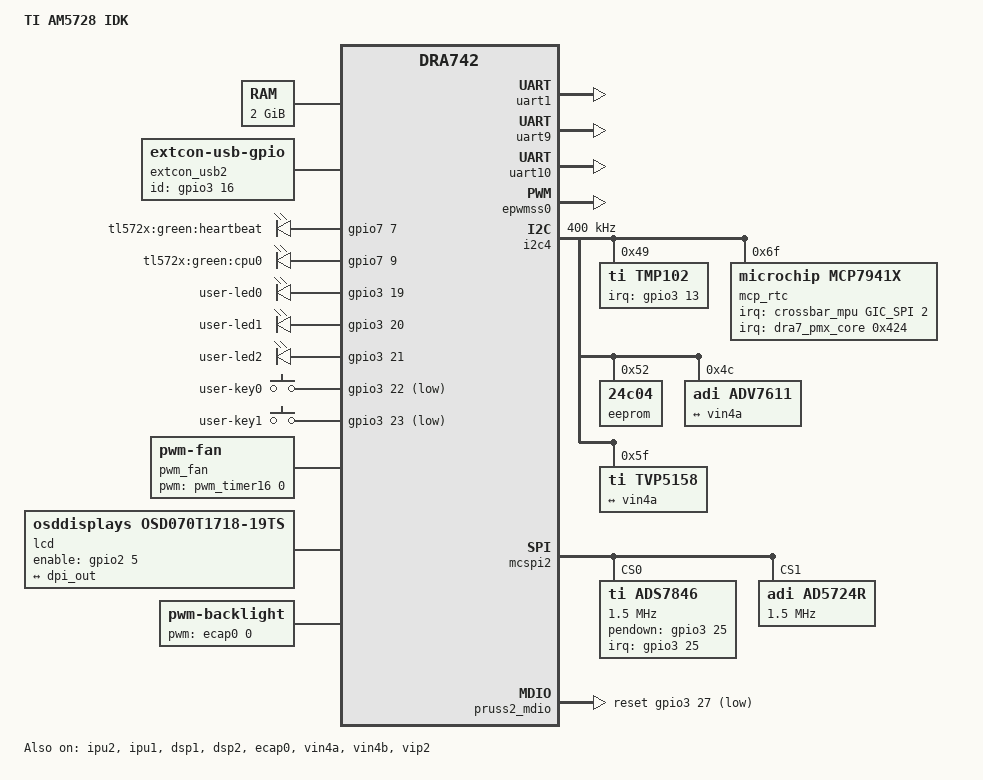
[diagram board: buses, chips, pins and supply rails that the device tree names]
/*
 * Copyright (C) 2015-2016 Texas Instruments Incorporated - http://www.ti.com/
 *
 * This program is free software; you can redistribute it and/or modify
 * it under the terms of the GNU General Public License version 2 as
 * published by the Free Software Foundation.
 */

/dts-v1/;

#include "dra74x.dtsi"
#include <dt-bindings/gpio/gpio.h>
#include <dt-bindings/interrupt-controller/irq.h>
#include <dt-bindings/input/input.h>
#include "am57xx-idk-common.dtsi"
#include "am57xx-evm-cmem.dtsi"

/ {
	model = "TI AM5728 IDK";
	compatible = "ti,am5728-idk", "ti,am5728", "ti,dra742", "ti,dra74",
		     "ti,dra7";

	aliases {
		display0 = &lcd0;
		display1 = &hdmi0;
		ethernet2 = &pruss2_emac0;
		ethernet3 = &pruss2_emac1;
	};

	memory {
		device_type = "memory";
		reg = <0x0 0x80000000 0x0 0x80000000>;
	};

	reserved-memory {
		#address-cells = <2>;
		#size-cells = <2>;
		ranges;

		ipu2_cma_pool: ipu2_cma@95800000 {
			compatible = "shared-dma-pool";
			reg = <0x0 0x95800000 0x0 0x3800000>;
			reusable;
			status = "okay";
		};

		dsp1_cma_pool: dsp1_cma@99000000 {
			compatible = "shared-dma-pool";
			reg = <0x0 0x99000000 0x0 0x4000000>;
			reusable;
			status = "okay";
		};

		ipu1_cma_pool: ipu1_cma@9d000000 {
			compatible = "shared-dma-pool";
			reg = <0x0 0x9d000000 0x0 0x2000000>;
			reusable;
			status = "okay";
		};

		dsp2_cma_pool: dsp2_cma@9f000000 {
			compatible = "shared-dma-pool";
			reg = <0x0 0x9f000000 0x0 0x800000>;
			reusable;
			status = "okay";
		};
	};

	extcon_usb2: extcon_usb2 {
		compatible = "linux,extcon-usb-gpio";
		id-gpio = <&gpio3 16 GPIO_ACTIVE_HIGH>;
	};

	leds@1 {
		compatible = "gpio-leds";
		pinctrl-names = "default";
		pinctrl-0 = <&leds_pins_default>;
		led@0 {
			label = "tl572x:green:heartbeat";
			gpios = <&gpio7 7 GPIO_ACTIVE_HIGH>;
			default-state = "off";
			linux,default-trigger = "heartbeat";
		};

		led@1 {
			label = "tl572x:green:cpu0";
			gpios = <&gpio7 9 GPIO_ACTIVE_HIGH>;
			default-state = "off";
			linux,default-trigger = "cpu0";
		};

		led@2 {
			label = "user-led0";
			gpios = <&gpio3 19 GPIO_ACTIVE_HIGH>;
			default-state = "on";
		};

		led@3 {
			label = "user-led1";
			gpios = <&gpio3 20 GPIO_ACTIVE_HIGH>;
			default-state = "on";
		};

		led@4 {
			label = "user-led2";
			gpios = <&gpio3 21 GPIO_ACTIVE_HIGH>;
			default-state = "on";
		};
	};

	gpio_keys {
		compatible = "gpio-keys";
		pinctrl-names = "default";
		pinctrl-0 = <&buttons_pins_default>;
		#address-cells = <1>;
		#size-cells = <0>;
		autorepeat;

		USER1 {
			label = "user-key0";
			linux,code = <KEY_PROG1>;
			gpios = <&gpio3 22 GPIO_ACTIVE_LOW>;
		};

		USER2 {
			label = "user-key1";
			linux,code = <KEY_PROG2>;
			gpios = <&gpio3 23 GPIO_ACTIVE_LOW>;
		};
	};

	pwm_timer16: dmtimer-pwm@16 {
		pinctrl-names = "default";
		pinctrl-0 = <&fan_pins_default>;
		compatible = "ti,omap-dmtimer-pwm";
		ti,timers = <&timer16>;
		#pwm-cells = <3>;
		ti,prescaler = <7>;
		ti,clock-source = <0x00>;
	};

	pwm_fan: pwm_fan {
		compatible = "pwm-fan";
		cooling-min-state = <0>;
		cooling-max-state = <3>;
		#cooling-cells = <2>;
		pwms = <&pwm_timer16 0 10000 0>;
		cooling-levels = <102 153 204 250>;
	};

	lcd0: display {
		compatible = "osddisplays,osd070t1718-19ts", "panel-dpi";

		label = "lcd";

		enable-gpios = <&gpio2 5 GPIO_ACTIVE_HIGH>;

		panel-timing {
			clock-frequency = <33000000>;
			hactive = <800>;
			vactive = <480>;
			hfront-porch = <210>;
			hback-porch = <16>;
			hsync-len = <30>;
			vback-porch = <10>;
			vfront-porch = <22>;
			vsync-len = <13>;
			hsync-active = <0>;
			vsync-active = <0>;
			de-active = <1>;
			pixelclk-active = <1>;
		};

		port {
			lcd_in: endpoint {
				remote-endpoint = <&dpi_out>;
			};
		};
	};

	backlight {
		compatible = "pwm-backlight";
		pwms = <&ecap0 0 50000 0>;

		brightness-levels = <0 10 50 100 150 200 220 240 255>;

		default-brightness-level = <8>;
	};

	extcon_usb2: extcon_usb2 {
	     compatible = "linux,extcon-usb-gpio";
	     id-gpio = <&gpio3 16 GPIO_ACTIVE_HIGH>;
	};
};

&dra7_pmx_core {
	pinctrl-names = "default";
	pinctrl-0 = <&gpio2_pins &gpio3_pins &gpio4_pins &gpio5_pins &gpio6_pins &gpio7_pins &i2c1_pins_default &i2c4_pins_default>;

	leds_pins_default: leds_pins_default {
		pinctrl-single,pins = <
			0x3a4 (PIN_OUTPUT | MUX_MODE14) /* spi1_sclk.gpio7_7 (som led1) A25 */
			0x3ac (PIN_OUTPUT | MUX_MODE14) /* spi1_d0.gpio7_9 (som led2) B25 */
			0x130 (PIN_OUTPUT | MUX_MODE14) /* vin1a_d15.gpio3_19 */
			0x134 (PIN_OUTPUT | MUX_MODE14) /* vin1a_d16.gpio3_20 */
			0x138 (PIN_OUTPUT | MUX_MODE14) /* vin1a_d17.gpio3_21 */
		>;
	};

	buttons_pins_default: buttons_pins_default {
		pinctrl-single,pins = <
			0x13c (PIN_INPUT_PULLUP | MUX_MODE14) /* vin1a_d18.gpio3_22 (AE5) */
			0x140 (PIN_INPUT_PULLUP | MUX_MODE14) /* vin1a_d19.gpio3_23 (AE1) */
		>;
	};

	uart1_pins_default: uart1_pins_default {
		pinctrl-single,pins = <
			0x3e0 (PIN_INPUT_PULLUP | MUX_MODE0) /* uart1_rxd.uart1_rxd */
			0x3e4 (PIN_INPUT_PULLUP | MUX_MODE0) /* uart1_txd.uart1_txd */
		>;
	};

	uart9_pins_default: uart9_pins_default {
		pinctrl-single,pins = <
			0x160 (PIN_INPUT_PULLUP | MUX_MODE7) /* vin2a_hsync0.uart9_rxd (G1) */
			0x164 (PIN_INPUT_PULLUP | MUX_MODE7) /* vin2a_vsync0.uart9_txd (G6) */
		>;
	};

	uart10_pins_default: uart10_pins_default {
		pinctrl-single,pins = <
			DRA7XX_CORE_IOPAD(0x3570, (PIN_INPUT_PULLUP | MUX_MODE8)) /* vin2a_d2.uart10_rxd */
			DRA7XX_CORE_IOPAD(0x3574, (PIN_INPUT_PULLUP | MUX_MODE8)) /* vin2a_d3.uart10_txd */
		>;
	};

	fan_pins_default: fan_pins_default {
		pinctrl-single,pins = <
			DRA7XX_CORE_IOPAD(0x34e4, (PIN_OUTPUT_PULLUP | MUX_MODE7)) /* vin1a_de0.timer16 (AD9) */
		>;
	};

	ehrpwm0_pins: ehrpwm0_pins {
		pinctrl-single,pins = <
			DRA7XX_CORE_IOPAD(0x3500, (PIN_OUTPUT | MUX_MODE10)) /* vin1a_d3.eCAP1_in_PWM1_out (AH6) */
		>;
	};

	spi2_pins: spi2_pins {
		pinctrl-single,pins = <
			DRA7XX_CORE_IOPAD(0x37c0, (INPUT_EN | MUX_MODE0))          /* spi2_sclk.spi2_sclk (A26) */
			DRA7XX_CORE_IOPAD(0x37c4, (INPUT_EN | MUX_MODE0))          /* spi2_d1.spi2_d1 (B22) */
			DRA7XX_CORE_IOPAD(0x37c8, (INPUT_EN | MUX_MODE0))          /* spi2_d0.spi2_d0 (G17) */
			DRA7XX_CORE_IOPAD(0x37cc, (PIN_OUTPUT_PULLUP | MUX_MODE0)) /* spi2_cs0.spi2_cs0 (B24) */
			DRA7XX_CORE_IOPAD(0x37b4, (PIN_OUTPUT_PULLUP | MUX_MODE3)) /* spi1_cs1.spi2_cs1 (A22) */
		>;
	};

	i2c4_pins_default: i2c4_pins_default {
		pinctrl-single,pins = <
			0x040 (PIN_INPUT_PULLUP | MUX_MODE7) /* gpmc_a0.i2c4_scl */
			0x044 (PIN_INPUT_PULLUP | MUX_MODE7) /* gpmc_a1.i2c4_sda */
		>;
	};

	ads7846_pins: ads7846_pins {
		pinctrl-single,pins = <
			DRA7XX_CORE_IOPAD(0x3548, (PIN_INPUT_PULLUP | MUX_MODE14)) /* vin1a_d21.gpio3_25 */
		>;
	};

	vin4a_reset_pins: vin4a_reset_pins {
		pinctrl-single,pins = <
			DRA7XX_CORE_IOPAD(0x34e0, (PIN_OUTPUT_PULLUP | MUX_MODE14)) /* vin1b_clk1.gpio2_31 (AH7) */
		>;
	};

	gpio6_pins: gpio6_pins {
		pinctrl-single,pins = <
			DRA7XX_CORE_IOPAD(0x3684, (PIN_INPUT_PULLUP | MUX_MODE14)) /* usb2_drvvbus.gpio6_13 (AC10) */
		>;
	};

	gpio7_pins: gpio7_pins {
		pinctrl-single,pins = <
			DRA7XX_CORE_IOPAD(0x37ec, (PIN_OUTPUT_PULLDOWN | MUX_MODE14)) /* uart1_rtsn.gpio7_25 (C27) */
			DRA7XX_CORE_IOPAD(0x37b0, (PIN_INPUT_PULLUP | MUX_MODE14))    /* spi1_cs0.gpio7_10 (A24) */
		>;
	};

	gpio2_pins: gpio2_pins {
		pinctrl-single,pins = <
			DRA7XX_CORE_IOPAD(0x34dc, (PIN_INPUT_PULLUP | MUX_MODE14)) /* vin1a_clk0.gpio2_30 (AG8) */
		>;
	};

	gpio3_pins: gpio3_pins {
		pinctrl-single,pins = <
			DRA7XX_CORE_IOPAD(0x3528, (PIN_INPUT_PULLUP | MUX_MODE14)) /* vin1a_d13.gpio3_17 (AF6) */
			DRA7XX_CORE_IOPAD(0x354c, PIN_INPUT_PULLUP | MUX_MODE14) /* vin1a_d22.gpio3_26 */
			DRA7XX_CORE_IOPAD(0x350c, (PIN_INPUT_PULLUP | MUX_MODE14)) /* vin1a_d6.gpio3_10 (AG6) */
			DRA7XX_CORE_IOPAD(0x3550, (PIN_INPUT_PULLUP | MUX_MODE14)) /* vin1a_d23.gpio3_27 (AD3) */
			DRA7XX_CORE_IOPAD(0x352c, (PIN_INPUT_PULLUP | MUX_MODE14)) /* vin1a_d14.gpio3_18 (AF3) */
		>;
	};

	gpio4_pins: gpio4_pins {
		pinctrl-single,pins = <
			DRA7XX_CORE_IOPAD(0x3578, (PIN_INPUT_PULLUP | MUX_MODE14)) /* vin2a_d4.gpio4_5 (D2) */
		>;
	};

	gpio5_pins: gpio5_pins {
		pinctrl-single,pins = <
			DRA7XX_CORE_IOPAD(0x3644, (PIN_INPUT_PULLUP | MUX_MODE14)) /* RMII_MHZ_50_CLK.gpio5_17 */
		>;
	};

	mmc1_pins_default: mmc1_pins_default {
		pinctrl-single,pins = <
			0x354 (PIN_INPUT_PULLUP | MUX_MODE0) /* mmc1_clk.clk */
			0x358 (PIN_INPUT_PULLUP | MUX_MODE0) /* mmc1_cmd.cmd */
			0x35c (PIN_INPUT_PULLUP | MUX_MODE0) /* mmc1_dat0.dat0 */
			0x360 (PIN_INPUT_PULLUP | MUX_MODE0) /* mmc1_dat1.dat1 */
			0x364 (PIN_INPUT_PULLUP | MUX_MODE0) /* mmc1_dat2.dat2 */
			0x368 (PIN_INPUT_PULLUP | MUX_MODE0) /* mmc1_dat3.dat3 */
			0x36c (PIN_INPUT_PULLUP | MUX_MODE14) /* mmc1_sdcd.gpio6_27 */
		>;
	};

	mmc1_pins_sdr12: pinmux_mmc1_sdr12_pins {
		pinctrl-single,pins = <
			0x354 (PIN_INPUT_PULLUP | MUX_MODE0)	/* mmc1_clk.clk */
			0x358 (PIN_INPUT_PULLUP | MUX_MODE0)	/* mmc1_cmd.cmd */
			0x35c (PIN_INPUT_PULLUP | MUX_MODE0)	/* mmc1_dat0.dat0 */
			0x360 (PIN_INPUT_PULLUP | MUX_MODE0)	/* mmc1_dat1.dat1 */
			0x364 (PIN_INPUT_PULLUP | MUX_MODE0)	/* mmc1_dat2.dat2 */
			0x368 (PIN_INPUT_PULLUP | MUX_MODE0)	/* mmc1_dat3.dat3 */
		>;
	};

	mmc1_pins_hs: mmc1_pins_hs {
		pinctrl-single,pins = <
			0x354 (PIN_INPUT_PULLUP | MUX_VIRTUAL_MODE11 | MUX_MODE0) /* mmc1_clk.clk */
			0x358 (PIN_INPUT_PULLUP | MUX_VIRTUAL_MODE11 | MUX_MODE0) /* mmc1_cmd.cmd */
			0x35c (PIN_INPUT_PULLUP | MUX_VIRTUAL_MODE11 | MUX_MODE0) /* mmc1_dat0.dat0 */
			0x360 (PIN_INPUT_PULLUP | MUX_VIRTUAL_MODE11 | MUX_MODE0) /* mmc1_dat1.dat1 */
			0x364 (PIN_INPUT_PULLUP | MUX_VIRTUAL_MODE11 | MUX_MODE0) /* mmc1_dat2.dat2 */
			0x368 (PIN_INPUT_PULLUP | MUX_VIRTUAL_MODE11 | MUX_MODE0) /* mmc1_dat3.dat3 */
		>;
	};

	mmc1_pins_sdr25: pinmux_mmc1_sdr25_pins {
		pinctrl-single,pins = <
			0x354 (PIN_INPUT_PULLUP | MUX_VIRTUAL_MODE11 | MUX_MODE0)	/* mmc1_clk.clk */
			0x358 (PIN_INPUT_PULLUP | MUX_VIRTUAL_MODE11 | MUX_MODE0)	/* mmc1_cmd.cmd */
			0x35c (PIN_INPUT_PULLUP | MUX_VIRTUAL_MODE11 | MUX_MODE0)	/* mmc1_dat0.dat0 */
			0x360 (PIN_INPUT_PULLUP | MUX_VIRTUAL_MODE11 | MUX_MODE0)	/* mmc1_dat1.dat1 */
			0x364 (PIN_INPUT_PULLUP | MUX_VIRTUAL_MODE11 | MUX_MODE0)	/* mmc1_dat2.dat2 */
			0x368 (PIN_INPUT_PULLUP | MUX_VIRTUAL_MODE11 | MUX_MODE0)	/* mmc1_dat3.dat3 */
		>;
	};

	mmc1_pins_sdr50: pinmux_mmc1_sdr50_pins {
		pinctrl-single,pins = <
			0x354 (PIN_INPUT_PULLUP | MUX_VIRTUAL_MODE10 | MUX_MODE0)	/* mmc1_clk.clk */
			0x358 (PIN_INPUT_PULLUP | MUX_VIRTUAL_MODE10 | MUX_MODE0)	/* mmc1_cmd.cmd */
			0x35c (PIN_INPUT_PULLUP | MUX_VIRTUAL_MODE10 | MUX_MODE0)	/* mmc1_dat0.dat0 */
			0x360 (PIN_INPUT_PULLUP | MUX_VIRTUAL_MODE10 | MUX_MODE0)	/* mmc1_dat1.dat1 */
			0x364 (PIN_INPUT_PULLUP | MUX_VIRTUAL_MODE10 | MUX_MODE0)	/* mmc1_dat2.dat2 */
			0x368 (PIN_INPUT_PULLUP | MUX_VIRTUAL_MODE10 | MUX_MODE0)	/* mmc1_dat3.dat3 */
		>;
	};

	mmc1_pins_ddr50: pinmux_mmc1_ddr50_pins {
		pinctrl-single,pins = <
			0x354 (PIN_INPUT_PULLUP | MANUAL_MODE | MUX_MODE0)	/* mmc1_clk.clk */
			0x358 (PIN_INPUT_PULLUP | MANUAL_MODE | MUX_MODE0)	/* mmc1_cmd.cmd */
			0x35c (PIN_INPUT_PULLUP | MANUAL_MODE | MUX_MODE0)	/* mmc1_dat0.dat0 */
			0x360 (PIN_INPUT_PULLUP | MANUAL_MODE | MUX_MODE0)	/* mmc1_dat1.dat1 */
			0x364 (PIN_INPUT_PULLUP | MANUAL_MODE | MUX_MODE0)	/* mmc1_dat2.dat2 */
			0x368 (PIN_INPUT_PULLUP | MANUAL_MODE | MUX_MODE0)	/* mmc1_dat3.dat3 */
		>;
	};

	mmc1_pins_sdr104: pinmux_mmc1_sdr104_pins {
		pinctrl-single,pins = <
			0x354 (PIN_INPUT_PULLUP | MANUAL_MODE | MUX_MODE0)	/* mmc1_clk.clk */
			0x358 (PIN_INPUT_PULLUP | MANUAL_MODE | MUX_MODE0)	/* mmc1_cmd.cmd */
			0x35c (PIN_INPUT_PULLUP | MANUAL_MODE | MUX_MODE0)	/* mmc1_dat0.dat0 */
			0x360 (PIN_INPUT_PULLUP | MANUAL_MODE | MUX_MODE0)	/* mmc1_dat1.dat1 */
			0x364 (PIN_INPUT_PULLUP | MANUAL_MODE | MUX_MODE0)	/* mmc1_dat2.dat2 */
			0x368 (PIN_INPUT_PULLUP | MANUAL_MODE | MUX_MODE0)	/* mmc1_dat3.dat3 */
		>;
	};

	mmc2_pins_default: mmc2_pins_default {
		pinctrl-single,pins = <
			0x9c (PIN_INPUT_PULLUP | MUX_MODE1) /* gpmc_a23.mmc2_clk */
			0xb0 (PIN_INPUT_PULLUP | MUX_MODE1) /* gpmc_cs1.mmc2_cmd */
			0xa0 (PIN_INPUT_PULLUP | MUX_MODE1) /* gpmc_a24.mmc2_dat0 */
			0xa4 (PIN_INPUT_PULLUP | MUX_MODE1) /* gpmc_a25.mmc2_dat1 */
			0xa8 (PIN_INPUT_PULLUP | MUX_MODE1) /* gpmc_a26.mmc2_dat2 */
			0xac (PIN_INPUT_PULLUP | MUX_MODE1) /* gpmc_a27.mmc2_dat3 */
			0x8c (PIN_INPUT_PULLUP | MUX_MODE1) /* gpmc_a19.mmc2_dat4 */
			0x90 (PIN_INPUT_PULLUP | MUX_MODE1) /* gpmc_a20.mmc2_dat5 */
			0x94 (PIN_INPUT_PULLUP | MUX_MODE1) /* gpmc_a21.mmc2_dat6 */
			0x98 (PIN_INPUT_PULLUP | MUX_MODE1) /* gpmc_a22.mmc2_dat7 */
		>;
	};

	mmc2_pins_hs: mmc2_pins_hs {
		pinctrl-single,pins = <
			0x9c (PIN_INPUT_PULLUP | MUX_MODE1) /* gpmc_a23.mmc2_clk */
			0xb0 (PIN_INPUT_PULLUP | MUX_MODE1) /* gpmc_cs1.mmc2_cmd */
			0xa0 (PIN_INPUT_PULLUP | MUX_MODE1) /* gpmc_a24.mmc2_dat0 */
			0xa4 (PIN_INPUT_PULLUP | MUX_MODE1) /* gpmc_a25.mmc2_dat1 */
			0xa8 (PIN_INPUT_PULLUP | MUX_MODE1) /* gpmc_a26.mmc2_dat2 */
			0xac (PIN_INPUT_PULLUP | MUX_MODE1) /* gpmc_a27.mmc2_dat3 */
			0x8c (PIN_INPUT_PULLUP | MUX_MODE1) /* gpmc_a19.mmc2_dat4 */
			0x90 (PIN_INPUT_PULLUP | MUX_MODE1) /* gpmc_a20.mmc2_dat5 */
			0x94 (PIN_INPUT_PULLUP | MUX_MODE1) /* gpmc_a21.mmc2_dat6 */
			0x98 (PIN_INPUT_PULLUP | MUX_MODE1) /* gpmc_a22.mmc2_dat7 */
		>;
	};

	mmc2_pins_ddr_1_8v: mmc2_pins_ddr_1_8v {
		pinctrl-single,pins = <
			0x9c (PIN_INPUT_PULLUP | MANUAL_MODE | MUX_MODE1) /* gpmc_a23.mmc2_clk */
			0xb0 (PIN_INPUT_PULLUP | MANUAL_MODE | MUX_MODE1) /* gpmc_cs1.mmc2_cmd */
			0xa0 (PIN_INPUT_PULLUP | MANUAL_MODE | MUX_MODE1) /* gpmc_a24.mmc2_dat0 */
			0xa4 (PIN_INPUT_PULLUP | MANUAL_MODE | MUX_MODE1) /* gpmc_a25.mmc2_dat1 */
			0xa8 (PIN_INPUT_PULLUP | MANUAL_MODE | MUX_MODE1) /* gpmc_a26.mmc2_dat2 */
			0xac (PIN_INPUT_PULLUP | MANUAL_MODE | MUX_MODE1) /* gpmc_a27.mmc2_dat3 */
			0x8c (PIN_INPUT_PULLUP | MANUAL_MODE | MUX_MODE1) /* gpmc_a19.mmc2_dat4 */
			0x90 (PIN_INPUT_PULLUP | MANUAL_MODE | MUX_MODE1) /* gpmc_a20.mmc2_dat5 */
			0x94 (PIN_INPUT_PULLUP | MANUAL_MODE | MUX_MODE1) /* gpmc_a21.mmc2_dat6 */
			0x98 (PIN_INPUT_PULLUP | MANUAL_MODE | MUX_MODE1) /* gpmc_a22.mmc2_dat7 */
		>;
	};
};

&dra7_iodelay_core {

	mmc1_iodelay_ddr50_conf: mmc1_iodelay_ddr50_conf {
		pinctrl-single,pins = <
			0x618 (A_DELAY(0) | G_DELAY(0))		/* CFG_MMC1_CLK_IN */
			0x620 (A_DELAY(1271) | G_DELAY(0))	/* CFG_MMC1_CLK_OUT */
			0x624 (A_DELAY(229) | G_DELAY(0))	/* CFG_MMC1_CMD_IN */
			0x628 (A_DELAY(0) | G_DELAY(0))		/* CFG_MMC1_CMD_OEN */
			0x62C (A_DELAY(0) | G_DELAY(0))		/* CFG_MMC1_CMD_OUT */
			0x630 (A_DELAY(850) | G_DELAY(0))	/* CFG_MMC1_DAT0_IN */
			0x634 (A_DELAY(0) | G_DELAY(0))		/* CFG_MMC1_DAT0_OEN */
			0x638 (A_DELAY(20) | G_DELAY(0))	/* CFG_MMC1_DAT0_OUT */
			0x63C (A_DELAY(468) | G_DELAY(0))	/* CFG_MMC1_DAT1_IN */
			0x640 (A_DELAY(0) | G_DELAY(0))		/* CFG_MMC1_DAT1_OEN */
			0x644 (A_DELAY(0) | G_DELAY(0))		/* CFG_MMC1_DAT1_OUT */
			0x648 (A_DELAY(466) | G_DELAY(0))	/* CFG_MMC1_DAT2_IN */
			0x64C (A_DELAY(0) | G_DELAY(0))		/* CFG_MMC1_DAT2_OEN */
			0x650 (A_DELAY(0) | G_DELAY(0))		/* CFG_MMC1_DAT2_OUT */
			0x654 (A_DELAY(399) | G_DELAY(0))	/* CFG_MMC1_DAT3_IN */
			0x658 (A_DELAY(0) | G_DELAY(0))		/* CFG_MMC1_DAT3_OEN */
			0x65C (A_DELAY(0) | G_DELAY(0))		/* CFG_MMC1_DAT3_OUT */
		>;
	};

	mmc1_iodelay_sdr104_conf: mmc1_iodelay_sdr104_conf {
		pinctrl-single,pins = <
			0x620 (A_DELAY(600) | G_DELAY(400))	/* CFG_MMC1_CLK_OUT */
			0x628 (A_DELAY(0) | G_DELAY(0))		/* CFG_MMC1_CMD_OEN */
			0x62c (A_DELAY(0) | G_DELAY(0))		/* CFG_MMC1_CMD_OUT */
			0x634 (A_DELAY(0) | G_DELAY(0))		/* CFG_MMC1_DAT0_OEN */
			0x638 (A_DELAY(30) | G_DELAY(0))	/* CFG_MMC1_DAT0_OUT */
			0x640 (A_DELAY(0) | G_DELAY(0))		/* CFG_MMC1_DAT1_OEN */
			0x644 (A_DELAY(0) | G_DELAY(0))		/* CFG_MMC1_DAT1_OUT */
			0x64c (A_DELAY(0) | G_DELAY(0))		/* CFG_MMC1_DAT2_OEN */
			0x650 (A_DELAY(0) | G_DELAY(0))		/* CFG_MMC1_DAT2_OUT */
			0x658 (A_DELAY(0) | G_DELAY(0))		/* CFG_MMC1_DAT3_OEN */
			0x65c (A_DELAY(0) | G_DELAY(0))		/* CFG_MMC1_DAT3_OUT */
		>;
	};

	mmc2_iodelay_ddr_1_8v_conf: mmc2_iodelay_ddr_1_8v_conf {
		pinctrl-single,pins = <
			0x18c (A_DELAY(270) | G_DELAY(0))	/* CFG_GPMC_A19_IN */
			0x1a4 (A_DELAY(0) | G_DELAY(0))		/* CFG_GPMC_A20_IN */
			0x1b0 (A_DELAY(170) | G_DELAY(0))	/* CFG_GPMC_A21_IN */
			0x1bc (A_DELAY(758) | G_DELAY(0))	/* CFG_GPMC_A22_IN */
			0x1c8 (A_DELAY(0) | G_DELAY(0))		/* CFG_GPMC_A23_IN */
			0x1d4 (A_DELAY(81) | G_DELAY(0))	/* CFG_GPMC_A24_IN */
			0x1e0 (A_DELAY(286) | G_DELAY(0))	/* CFG_GPMC_A25_IN */
			0x1ec (A_DELAY(0) | G_DELAY(0))		/* CFG_GPMC_A26_IN */
			0x1f8 (A_DELAY(123) | G_DELAY(0))	/* CFG_GPMC_A27_IN */
			0x360 (A_DELAY(346) | G_DELAY(0))	/* CFG_GPMC_CS1_IN */
			0x190 (A_DELAY(0) | G_DELAY(0))		/* CFG_GPMC_A19_OEN */
			0x194 (A_DELAY(55) | G_DELAY(0))	/* CFG_GPMC_A19_OUT */
			0x1a8 (A_DELAY(0) | G_DELAY(0))		/* CFG_GPMC_A20_OEN */
			0x1ac (A_DELAY(422) | G_DELAY(0))	/* CFG_GPMC_A20_OUT */
			0x1b4 (A_DELAY(642) | G_DELAY(0))	/* CFG_GPMC_A21_OEN */
			0x1b8 (A_DELAY(0) | G_DELAY(0))		/* CFG_GPMC_A21_OUT */
			0x1c0 (A_DELAY(0) | G_DELAY(0))		/* CFG_GPMC_A22_OEN */
			0x1c4 (A_DELAY(128) | G_DELAY(0))	/* CFG_GPMC_A22_OUT */
			0x1d0 (A_DELAY(0) | G_DELAY(0))		/* CFG_GPMC_A23_OUT */
			0x1d8 (A_DELAY(0) | G_DELAY(0))		/* CFG_GPMC_A24_OEN */
			0x1dc (A_DELAY(395) | G_DELAY(0))	/* CFG_GPMC_A24_OUT */
			0x1e4 (A_DELAY(0) | G_DELAY(0))		/* CFG_GPMC_A25_OEN */
			0x1e8 (A_DELAY(0) | G_DELAY(0))		/* CFG_GPMC_A25_OUT */
			0x1f0 (A_DELAY(623) | G_DELAY(0))	/* CFG_GPMC_A26_OEN */
			0x1f4 (A_DELAY(0) | G_DELAY(0))		/* CFG_GPMC_A26_OUT */
			0x1fc (A_DELAY(54) | G_DELAY(0))	/* CFG_GPMC_A27_OEN */
			0x200 (A_DELAY(0) | G_DELAY(0))		/* CFG_GPMC_A27_OUT */
			0x364 (A_DELAY(0) | G_DELAY(0))		/* CFG_GPMC_CS1_OEN */
			0x368 (A_DELAY(0) | G_DELAY(0))		/* CFG_GPMC_CS1_OUT */
		>;
	};
};

&omap_dwc3_2 {
	extcon = <&extcon_usb2>;
};

&mmc1 {
	pinctrl-names = "default", "hs", "sdr12", "sdr25", "sdr50", "ddr50", "sdr104";
	pinctrl-0 = <&mmc1_pins_default>;
/*
	pinctrl-1 = <&mmc1_pins_hs>;
	pinctrl-2 = <&mmc1_pins_sdr12>;
	pinctrl-3 = <&mmc1_pins_sdr25>;
	pinctrl-4 = <&mmc1_pins_sdr50>;
	pinctrl-5 = <&mmc1_pins_ddr50 &mmc1_iodelay_ddr50_conf>;
	pinctrl-6 = <&mmc1_pins_sdr104 &mmc1_iodelay_sdr104_conf>;
*/
};

&mmc2 {
	pinctrl-names = "default", "hs", "ddr_1_8v";
	pinctrl-0 = <&mmc2_pins_default>;
	pinctrl-1 = <&mmc2_pins_hs>;
	pinctrl-2 = <&mmc2_pins_ddr_1_8v &mmc2_iodelay_ddr_1_8v_conf>;
};

&mailbox5 {
	status = "okay";
	mbox_ipu1_ipc3x: mbox_ipu1_ipc3x {
		status = "okay";
	};
	mbox_dsp1_ipc3x: mbox_dsp1_ipc3x {
		status = "okay";
	};
};

&mailbox6 {
	status = "okay";
	mbox_ipu2_ipc3x: mbox_ipu2_ipc3x {
		status = "okay";
	};
	mbox_dsp2_ipc3x: mbox_dsp2_ipc3x {
		status = "okay";
	};
};

&mmu0_dsp1 {
	status = "okay";
};

&mmu1_dsp1 {
	status = "okay";
};

&mmu0_dsp2 {
	status = "okay";
};

&mmu1_dsp2 {
	status = "okay";
};

&mmu_ipu1 {
	status = "okay";
};

&mmu_ipu2 {
	status = "okay";
};

&ipu2 {
	status = "okay";
	memory-region = <&ipu2_cma_pool>;
	mboxes = <&mailbox6 &mbox_ipu2_ipc3x>;
	timers = <&timer3>;
	watchdog-timers = <&timer4>, <&timer9>;
};

&ipu1 {
	status = "okay";
	memory-region = <&ipu1_cma_pool>;
	mboxes = <&mailbox5 &mbox_ipu1_ipc3x>;
	timers = <&timer11>;
};

&dsp1 {
	status = "okay";
	memory-region = <&dsp1_cma_pool>;
	mboxes = <&mailbox5 &mbox_dsp1_ipc3x>;
	timers = <&timer5>;
};

&dsp2 {
	status = "okay";
	memory-region = <&dsp2_cma_pool>;
	mboxes = <&mailbox6 &mbox_dsp2_ipc3x>;
	timers = <&timer6>;
};

&uart1 {
	status = "okay";
	pinctrl-names = "default";
	pinctrl-0 = <&uart1_pins_default>;

	interrupts-extended = <&crossbar_mpu GIC_SPI 67 IRQ_TYPE_LEVEL_HIGH>,
			      <&dra7_pmx_core 0x3e0>;
};

&uart9 {
	status = "okay";
	pinctrl-names = "default";
	pinctrl-0 = <&uart9_pins_default>;
};

&uart10 {
	status = "okay";
	pinctrl-names = "default";
	pinctrl-0 = <&uart10_pins_default>;
};

&timer16 {
	ti,timer-pwm;
};

&epwmss0 {
	status = "okay";
};

&ecap0 {
	status = "okay";
	pinctrl-names = "default";
	pinctrl-0 = <&ehrpwm0_pins>;
};

&i2c4 {
	status = "okay";
	clock-frequency = <400000>;


	tmp102: tmp102@49 {
		compatible = "ti,tmp102";
		reg = <0x49>;
		interrupt-parent = <&gpio3>;
		interrupts = <13 IRQ_TYPE_LEVEL_LOW>;
		#thermal-sensor-cells = <1>;
	};

	mcp_rtc: rtc@6f {
		compatible = "microchip,mcp7941x";
		reg = <0x6f>;
		interrupts-extended = <&crossbar_mpu GIC_SPI 2 IRQ_TYPE_EDGE_RISING>,
				      <&dra7_pmx_core 0x424>;
		interrupt-names = "irq", "wakeup";

		wakeup-source;
	};

	eeprom@52 {
           compatible = "24c04";
           reg = <0x52>;
           pagesize = <16>;
       };

	adv7611@4c {
		compatible = "adi,adv7611";

		reg = <0x4c>;

		port {
			adv7611_0: endpoint {
				remote-endpoint = <&vin4a>;
				pixel-mux;
				bus-width = <16>;
				channels = <0>;
			};
		};
	};

	tvp5158@5f {
		compatible = "ti,tvp5158";

		reg = <0x5f>;

		port {
			tvp5158_0: endpoint {
				remote-endpoint = <&vin4a>;
				channels = <0 2 4 6>;
			};
		};
	};
};

&mcspi2 {
        status = "okay";
        pinctrl-names = "default";
        pinctrl-0 = <&spi2_pins>;
        ti,pindir-d0-out-d1-in;

	ads7846@0 {
		pinctrl-names = "default";
		pinctrl-0 = <&ads7846_pins>;

		compatible = "ti,ads7846";

		reg = <0>;			/* CS0 */
		spi-max-frequency = <1500000>;

		interrupt-parent = <&gpio3>;
		interrupts = <25 0>;		/* gpio3_25 */
		pendown-gpio = <&gpio3 25 0>;

		ti,x-min = /bits/ 16 <0x0>;
		ti,x-max = /bits/ 16 <0x0fff>;
		ti,y-min = /bits/ 16 <0x0>;
		ti,y-max = /bits/ 16 <0x0fff>;

		ti,x-plate-ohms = /bits/ 16 <180>;
		ti,pressure-max = /bits/ 16 <255>;

		ti,debounce-max = /bits/ 16 <10>;
		ti,debounce-tol = /bits/ 16 <30>;
		ti,debounce-rep = /bits/ 16 <1>;

		ti,settle-delay-usec = /bits/ 16 <150>;
		ti,keep-vref-on = <1>;

		linux,wakeup;
	};

	ad5724r@0 {
		compatible = "adi,ad5724r";
		reg = <1>; /* CS1 */
		spi-cpha; /* SPI_MODE_1 */
		spi-max-frequency = <1500000>;
	};
};

&ov2659_1 {
	remote-endpoint = <&vin4b>;
};

&vin4a {
	status = "okay";

	endpoint@0 {
		slave-mode;
		remote-endpoint = <&tvp5158_0>;
	};
};

&vin4b {
	status = "okay";

	endpoint@3 {
		slave-mode;
		remote-endpoint = <&ov2659_1>;
	};
};

&vip2 {
	status = "okay";
	pinctrl-names = "default";
	pinctrl-0 = <&vin4a_reset_pins>;
};

&pcie1 {
	//gpios = <&gpio3 23 GPIO_ACTIVE_HIGH>;
};

/*
&sn65hvs882 {
	load-gpios = <&gpio3 19 GPIO_ACTIVE_LOW>;
};
*/

&gpio6 {
         status = "okay";
};

/* gpio7_25 use to select the spi2 bus connect to vport(low) or dac(high) */
&gpio7 {
         status = "okay";
};

&gpio2 {
         status = "okay";
};

/* gpio3_17 connect to the ad5724r LDAC pin */
&gpio3 {
         status = "okay";
};

&gpio4 {
         status = "okay";
};

&gpio5 {
	status = "okay";
};

&pruss2_mdio {
	reset-gpios = <&gpio3 27 GPIO_ACTIVE_LOW>,
		      <&gpio6 13 GPIO_ACTIVE_LOW>;
	reset-delay-us = <2>;	/* PHY datasheet states 1uS min */
};

&cpu_trips {
	cpu_alert1: cpu_alert1 {
		temperature = <50000>; /* millicelsius */
		hysteresis = <2000>; /* millicelsius */
		type = "active";
	};
};

&cpu_cooling_maps {
	map1 {
		trip = <&cpu_alert1>;
		cooling-device = <&pwm_fan THERMAL_NO_LIMIT THERMAL_NO_LIMIT>;
	};
};

&oppdm_mpu {
	vdd-supply = <&smps12_reg>;
};

&oppdm_dspeve {
	vdd-supply = <&smps45_reg>;
};

&oppdm_gpu {
	vdd-supply = <&smps6_reg>;
};

&oppdm_ivahd {
	vdd-supply = <&smps8_reg>;
};

&oppdm_core {
	vdd-supply = <&smps7_reg>;
};

&omap_dwc3_2 {
	extcon = <&extcon_usb2>;
};
